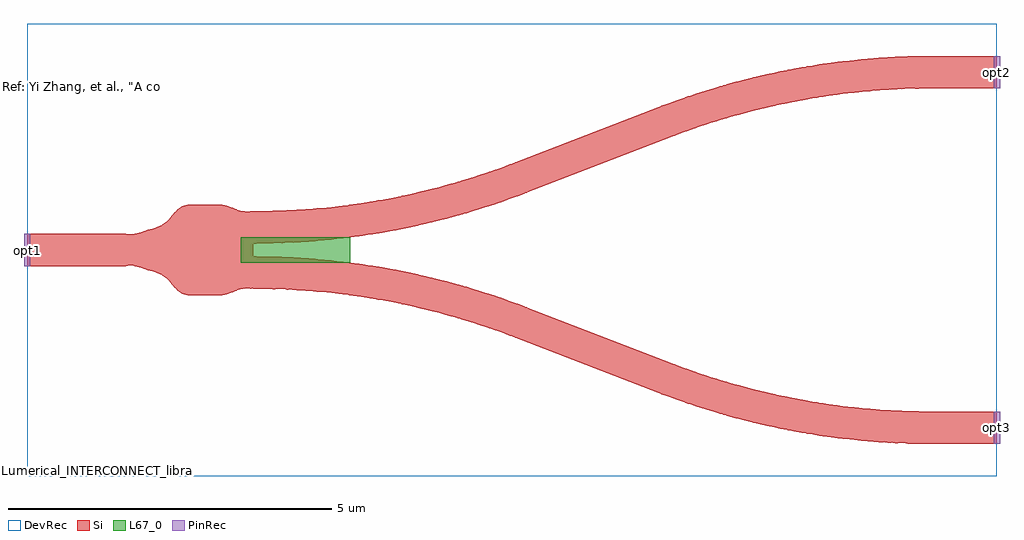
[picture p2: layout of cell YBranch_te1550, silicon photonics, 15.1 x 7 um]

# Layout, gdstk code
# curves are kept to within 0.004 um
import gdstk
lib = gdstk.Library(unit=1e-6, precision=1e-09)
def R(c, l, rs):  # rectangles x0, y0, x1, y1
    for r in rs: c.add(gdstk.rectangle(r[:2], r[2:], *l))
def P(c, l, *ps):  # polygons
    for p in ps: c.add(gdstk.Polygon(p, *l))
Si = (1, 0)
PinRec = (1, 10)
L67_0 = (67, 0)
DevRec = (68, 0)

ybranch_compact_1 = lib.new_cell('YBranch_Compact$1')
R(ybranch_compact_1, Si, [(14,-3,15,-2.5), (0,-0.25,1.5,0.25), (14,2.5,15,3)])
P(ybranch_compact_1, Si, [(13.958,-3),(13.737,-2.997),(13.737,-2.497),(14,-2.5),(14,-3)],
  [(12.533,-2.908),(12.153,-2.854),(11.788,-2.79),(11.441,-2.718),(11.09,-2.634),(10.772,-2.548),(10.422,-2.442),(10.055,-2.318),(9.765,-2.21),(9.945,-1.744),(10.285,-1.869),(10.575,-1.966),(10.937,-2.075),(11.231,-2.154),(11.532,-2.226),(11.872,-2.297),(12.193,-2.354),(12.533,-2.404)],
  [(13.733,-2.997),(13.446,-2.987),(13.119,-2.967),(12.533,-2.908),(12.533,-2.404),(13.125,-2.466),(13.458,-2.487),(13.737,-2.497)],
  [(9.765,-2.21),(7.555,-1.356),(7.735,-0.89),(9.945,-1.744)],
  [(6.738,-1.076),(6.377,-0.974),(5.968,-0.874),(5.591,-0.796),(5.166,-0.724),(4.708,-0.665),(4.322,-0.63),(3.899,-0.607),(3.5,-0.6),(3.5,-0.1),(3.935,-0.108),(4.34,-0.13),(4.706,-0.162),(5.119,-0.212),(5.532,-0.277),(5.935,-0.355),(6.286,-0.435),(6.738,-0.555)],
  [(7.555,-1.356),(7.131,-1.202),(6.738,-1.076),(6.738,-0.555),(7.237,-0.71),(7.735,-0.89)],
  [(13.737,2.497),(13.737,2.997),(14,3),(14,2.5)],
  [(9.945,1.744),(9.767,2.211),(10.055,2.318),(10.422,2.442),(10.772,2.548),(11.09,2.634),(11.441,2.718),(11.788,2.79),(12.153,2.854),(12.533,2.908),(12.533,2.404),(12.193,2.354),(11.872,2.297),(11.532,2.226),(11.231,2.154),(10.937,2.075),(10.575,1.966),(10.285,1.869)],
  [(12.533,2.404),(12.533,2.908),(13.119,2.967),(13.446,2.987),(13.737,2.997),(13.737,2.497),(13.458,2.487),(13.125,2.466)],
  [(7.735,0.89),(7.555,1.356),(9.765,2.21),(9.945,1.744)],
  [(3.5,0.1),(3.5,0.6),(3.899,0.607),(4.322,0.63),(4.708,0.665),(5.166,0.724),(5.591,0.796),(5.968,0.874),(6.377,0.974),(6.738,1.076),(6.738,0.555),(6.286,0.435),(5.935,0.355),(5.532,0.277),(5.119,0.212),(4.706,0.162),(4.34,0.13),(3.935,0.108)],
  [(6.738,0.555),(6.738,1.076),(7.131,1.202),(7.555,1.356),(7.735,0.89),(7.237,0.71)],
  [(2.378,-0.662),(2.321,-0.619),(2.156,-0.44),(2.11,-0.404),(2.058,-0.374),(1.964,-0.338),(1.692,-0.255),(1.617,-0.245),(1.5,-0.25),(1.5,0.25),(1.617,0.245),(1.683,0.253),(1.964,0.338),(2.058,0.374),(2.11,0.404),(2.156,0.44),(2.296,0.594),(2.378,0.662)],
  [(2.543,-0.703),(2.453,-0.692),(2.378,-0.662),(2.378,0.662),(2.438,0.688),(2.522,0.702),(2.962,0.703),(3.076,0.685),(3.268,0.617),(3.333,0.6),(3.377,0.595),(3.5,0.6),(3.5,-0.6),(3.433,-0.595),(3.333,-0.6),(3.268,-0.617),(3.097,-0.679),(2.991,-0.701)])

ybranch_te1550 = lib.new_cell('YBranch_te1550')
R(ybranch_te1550, L67_0, [(-4.2,-0.2,-2.5,0.2)])
R(ybranch_te1550, DevRec, [(-7.5,-3.5,7.5,3.5)])
ybranch_te1550.add(gdstk.FlexPath([(-7.45,0),(-7.55,0)], 0.5, ends="flush", simple_path=True, layer=1, datatype=10))  # PinRec
ybranch_te1550.add(gdstk.FlexPath([(7.45,2.75),(7.55,2.75)], 0.5, ends="flush", simple_path=True, layer=1, datatype=10))  # PinRec
ybranch_te1550.add(gdstk.FlexPath([(7.45,-2.75),(7.55,-2.75)], 0.5, ends="flush", simple_path=True, layer=1, datatype=10))  # PinRec
ybranch_te1550.add(gdstk.Reference(ybranch_compact_1, (-7.5,0)))
ybranch_te1550.add(gdstk.Label('opt2', (7.5,2.75), layer=1, texttype=10))
ybranch_te1550.add(gdstk.Label('opt3', (7.5,-2.75), layer=1, texttype=10))
ybranch_te1550.add(gdstk.Label('opt1', (-7.5,0), layer=1, texttype=10))
ybranch_te1550.add(gdstk.Label('Lumerical_INTERCONNECT_library=Design kits/GSiP', (-7.453,-3.41), layer=68, texttype=0))
ybranch_te1550.add(gdstk.Label('Ref: Yi Zhang, et al., "A compact and low loss Y-junction for submicron silicon waveguide," Optics Express, 2013', (-7.431,2.533), layer=68, texttype=0))

lib.write_gds('YBranch_te1550.gds')
